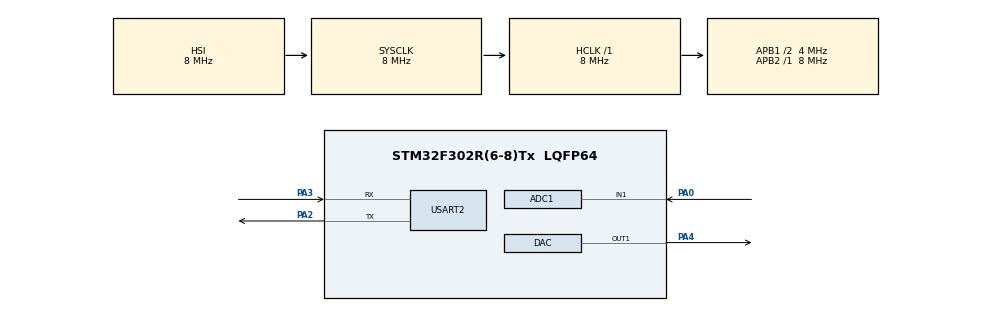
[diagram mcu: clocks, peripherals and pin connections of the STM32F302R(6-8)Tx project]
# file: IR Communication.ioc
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ADC1.Channel-0\#ChannelRegularConversion=ADC_CHANNEL_1
ADC1.NbrOfConversionFlag=1
ADC1.Offset-0\#ChannelRegularConversion=0
ADC1.OffsetNumber-0\#ChannelRegularConversion=ADC_OFFSET_NONE
ADC1.Rank-0\#ChannelRegularConversion=1
ADC1.SamplingTime-0\#ChannelRegularConversion=ADC_SAMPLETIME_1CYCLE_5
ADC1.master=1
Mcu.Family=STM32F3
Mcu.Name=STM32F302R(6-8)Tx
Mcu.Package=LQFP64
NVIC.PriorityGroup=NVIC_PRIORITYGROUP_4
PA0.Mode=IN1-Single-Ended
PA0.Signal=ADC1_IN1
PA2.Mode=Asynchronous
PA2.Signal=USART2_TX
PA3.Mode=Asynchronous
PA3.Signal=USART2_RX
PA4.Signal=COMP_DAC1_group
ProjectManager.HeapSize=0x200
ProjectManager.StackSize=0x400
ProjectManager.TargetToolchain=STM32CubeIDE
RCC.AHBFreq_Value=8000000
RCC.APB1CLKDivider=RCC_HCLK_DIV2
RCC.APB1Freq_Value=4000000
RCC.APB1TimFreq_Value=8000000
RCC.APB2Freq_Value=8000000
RCC.APB2TimFreq_Value=8000000
RCC.CortexFreq_Value=8000000
RCC.HCLKFreq_Value=8000000
RCC.HSE_VALUE=8000000
RCC.HSI_VALUE=8000000
RCC.LSE_VALUE=32768
RCC.PLLMUL=RCC_PLL_MUL9
RCC.SYSCLKFreq_VALUE=8000000
RCC.USBFreq_Value=36000000
SH.COMP_DAC1_group.0=DAC_OUT1,DAC_OUT1
USART2.VirtualMode-Asynchronous=VM_ASYNC
board=custom

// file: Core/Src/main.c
/* USER CODE BEGIN Header */
/**
  ******************************************************************************
  * @file           : main.c
  * @brief          : Main program body
  ******************************************************************************
  * @attention
  *
  * Copyright (c) 2024 STMicroelectronics.
  * All rights reserved.
  *
  * This software is licensed under terms that can be found in the LICENSE file
  * in the root directory of this software component.
  * If no LICENSE file comes with this software, it is provided AS-IS.
  *
  ******************************************************************************
  */
/* USER CODE END Header */
#include "main.h"

/* USER CODE BEGIN Includes */
#include <stdio.h>
#include <stdlib.h>
#include <stdbool.h>
/* USER CODE END Includes */

ADC_HandleTypeDef hadc1;

DAC_HandleTypeDef hdac;

UART_HandleTypeDef huart2;

/* USER CODE BEGIN PV */
double raw = 0.0;
char message[20];
/* USER CODE END PV */

void SystemClock_Config(void);
static void MX_GPIO_Init(void);
static void MX_USART2_UART_Init(void);
static void MX_ADC1_Init(void);
static void MX_DAC_Init(void);

int main(void)
{

  /* MCU Configuration--------------------------------------------------------*/

  /* Reset of all peripherals, Initializes the Flash interface and the Systick. */
  HAL_Init();

  /* Configure the system clock */
  SystemClock_Config();

  /* Initialize all configured peripherals */
  MX_GPIO_Init();
  MX_USART2_UART_Init();
  MX_ADC1_Init();
  MX_DAC_Init();
  /* USER CODE BEGIN 2 */
  HAL_DAC_Init(&hdac);
  HAL_DAC_Start(&hdac, DAC_CHANNEL_1);
  /* USER CODE END 2 */

  /* Infinite loop */
  while (1)
  {

    /* USER CODE BEGIN 3 */
//	  int i = 3103;
//	  while (i < 4000) {
//		  HAL_DAC_SetValue(&hdac, DAC_CHANNEL_1, DAC_ALIGN_12B_R, i);
//		  sprintf(message, "%d\t%f\r\n", i, (3.3f * (float) i) / 4096);
//		  HAL_UART_Transmit(&huart2, (uint8_t*) message, 20, 100);
//		  HAL_Delay(1);
//		  i += 4;
//	  }
//	  while (i > 3103) {
//		  HAL_DAC_SetValue(&hdac, DAC_CHANNEL_1, DAC_ALIGN_12B_R, i);
//		  HAL_Delay(1);
//		  sprintf(message, "%d\t%f\r\n", i, (3.3f * (float) i) / 4096);
//		  HAL_UART_Transmit(&huart2, (uint8_t*) message, 20, 100);
//		  i -= 4;
//	  }

	  HAL_ADC_Start(&hadc1);
	  HAL_ADC_PollForConversion(&hadc1, 100);
	  raw = (double) HAL_ADC_GetValue(&hadc1);

	  if (raw < 40) {
		  HAL_DAC_SetValue(&hdac, DAC_CHANNEL_1, DAC_ALIGN_12B_R, 3000);
	  } else if (raw > 200) {
		  HAL_DAC_SetValue(&hdac, DAC_CHANNEL_1, DAC_ALIGN_12B_R, 4000);
	  } else {
		  HAL_DAC_SetValue(&hdac, DAC_CHANNEL_1, DAC_ALIGN_12B_R, (int) ((6.25 * raw) + 2750));
	  }

	  sprintf(message, "%f\r\n", raw);
	  HAL_UART_Transmit(&huart2, (uint8_t*) message, 20, 100);
  }
  /* USER CODE END 3 */
}

void SystemClock_Config(void)
{
  RCC_OscInitTypeDef RCC_OscInitStruct = {0};
  RCC_ClkInitTypeDef RCC_ClkInitStruct = {0};
  RCC_PeriphCLKInitTypeDef PeriphClkInit = {0};

  /** Initializes the RCC Oscillators according to the specified parameters
  * in the RCC_OscInitTypeDef structure.
  */
  RCC_OscInitStruct.OscillatorType = RCC_OSCILLATORTYPE_HSI;
  RCC_OscInitStruct.HSIState = RCC_HSI_ON;
  RCC_OscInitStruct.HSICalibrationValue = RCC_HSICALIBRATION_DEFAULT;
  RCC_OscInitStruct.PLL.PLLState = RCC_PLL_ON;
  RCC_OscInitStruct.PLL.PLLSource = RCC_PLLSOURCE_HSI;
  RCC_OscInitStruct.PLL.PLLMUL = RCC_PLL_MUL9;
  if (HAL_RCC_OscConfig(&RCC_OscInitStruct) != HAL_OK)
  {
    Error_Handler();
  }

  /** Initializes the CPU, AHB and APB buses clocks
  */
  RCC_ClkInitStruct.ClockType = RCC_CLOCKTYPE_HCLK|RCC_CLOCKTYPE_SYSCLK
                              |RCC_CLOCKTYPE_PCLK1|RCC_CLOCKTYPE_PCLK2;
  RCC_ClkInitStruct.SYSCLKSource = RCC_SYSCLKSOURCE_HSI;
  RCC_ClkInitStruct.AHBCLKDivider = RCC_SYSCLK_DIV1;
  RCC_ClkInitStruct.APB1CLKDivider = RCC_HCLK_DIV2;
  RCC_ClkInitStruct.APB2CLKDivider = RCC_HCLK_DIV1;

  if (HAL_RCC_ClockConfig(&RCC_ClkInitStruct, FLASH_LATENCY_0) != HAL_OK)
  {
    Error_Handler();
  }
  PeriphClkInit.PeriphClockSelection = RCC_PERIPHCLK_ADC1;
  PeriphClkInit.Adc1ClockSelection = RCC_ADC1PLLCLK_DIV1;

  if (HAL_RCCEx_PeriphCLKConfig(&PeriphClkInit) != HAL_OK)
  {
    Error_Handler();
  }
}

static void MX_ADC1_Init(void)
{

  ADC_ChannelConfTypeDef sConfig = {0};

  /** Common config
  */
  hadc1.Instance = ADC1;
  hadc1.Init.ClockPrescaler = ADC_CLOCK_ASYNC_DIV1;
  hadc1.Init.Resolution = ADC_RESOLUTION_12B;
  hadc1.Init.ScanConvMode = ADC_SCAN_DISABLE;
  hadc1.Init.ContinuousConvMode = DISABLE;
  hadc1.Init.DiscontinuousConvMode = DISABLE;
  hadc1.Init.ExternalTrigConvEdge = ADC_EXTERNALTRIGCONVEDGE_NONE;
  hadc1.Init.ExternalTrigConv = ADC_SOFTWARE_START;
  hadc1.Init.DataAlign = ADC_DATAALIGN_RIGHT;
  hadc1.Init.NbrOfConversion = 1;
  hadc1.Init.DMAContinuousRequests = DISABLE;
  hadc1.Init.EOCSelection = ADC_EOC_SINGLE_CONV;
  hadc1.Init.LowPowerAutoWait = DISABLE;
  hadc1.Init.Overrun = ADC_OVR_DATA_OVERWRITTEN;
  if (HAL_ADC_Init(&hadc1) != HAL_OK)
  {
    Error_Handler();
  }

  /** Configure Regular Channel
  */
  sConfig.Channel = ADC_CHANNEL_1;
  sConfig.Rank = ADC_REGULAR_RANK_1;
  sConfig.SingleDiff = ADC_SINGLE_ENDED;
  sConfig.SamplingTime = ADC_SAMPLETIME_1CYCLE_5;
  sConfig.OffsetNumber = ADC_OFFSET_NONE;
  sConfig.Offset = 0;
  if (HAL_ADC_ConfigChannel(&hadc1, &sConfig) != HAL_OK)
  {
    Error_Handler();
  }

}

static void MX_DAC_Init(void)
{

  DAC_ChannelConfTypeDef sConfig = {0};

  /** DAC Initialization
  */
  hdac.Instance = DAC;
  if (HAL_DAC_Init(&hdac) != HAL_OK)
  {
    Error_Handler();
  }

  /** DAC channel OUT1 config
  */
  sConfig.DAC_Trigger = DAC_TRIGGER_NONE;
  sConfig.DAC_OutputBuffer = DAC_OUTPUTBUFFER_ENABLE;
  if (HAL_DAC_ConfigChannel(&hdac, &sConfig, DAC_CHANNEL_1) != HAL_OK)
  {
    Error_Handler();
  }

}

static void MX_USART2_UART_Init(void)
{

  huart2.Instance = USART2;
  huart2.Init.BaudRate = 38400;
  huart2.Init.WordLength = UART_WORDLENGTH_8B;
  huart2.Init.StopBits = UART_STOPBITS_1;
  huart2.Init.Parity = UART_PARITY_NONE;
  huart2.Init.Mode = UART_MODE_TX_RX;
  huart2.Init.HwFlowCtl = UART_HWCONTROL_NONE;
  huart2.Init.OverSampling = UART_OVERSAMPLING_16;
  huart2.Init.OneBitSampling = UART_ONE_BIT_SAMPLE_DISABLE;
  huart2.AdvancedInit.AdvFeatureInit = UART_ADVFEATURE_NO_INIT;
  if (HAL_UART_Init(&huart2) != HAL_OK)
  {
    Error_Handler();
  }

}

static void MX_GPIO_Init(void)
{

  /* GPIO Ports Clock Enable */
  __HAL_RCC_GPIOA_CLK_ENABLE();

}

void Error_Handler(void)
{
  __disable_irq();
  while (1)
  {
  }
}
